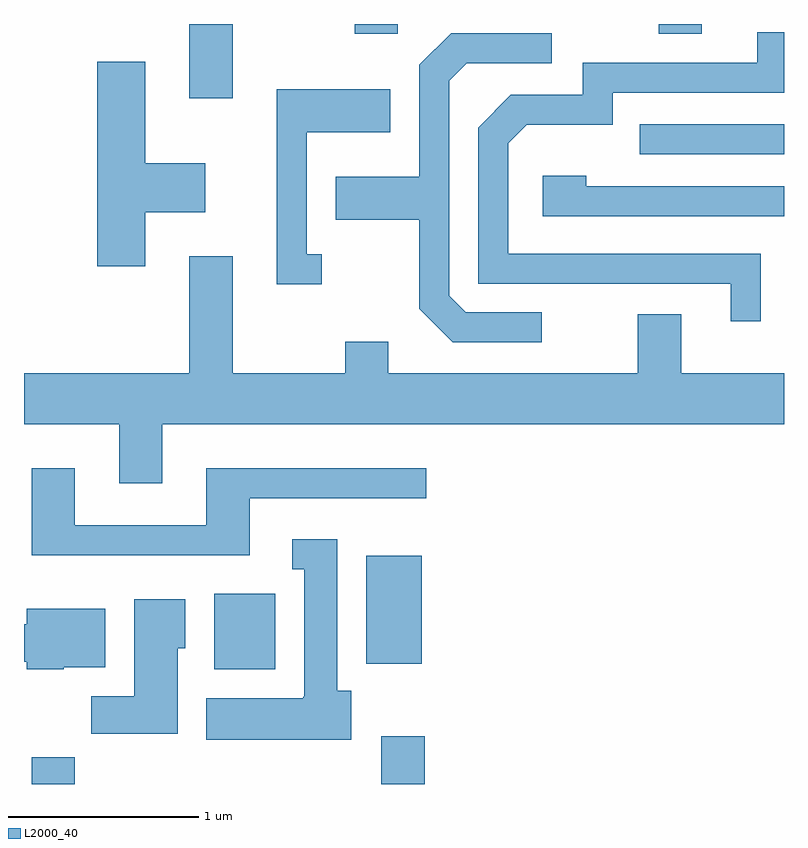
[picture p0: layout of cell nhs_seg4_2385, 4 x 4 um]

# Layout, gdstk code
import gdstk
lib = gdstk.Library(unit=1e-6, precision=1e-09)
def R(c, l, rs):  # rectangles x0, y0, x1, y1
    for r in rs: c.add(gdstk.rectangle(r[:2], r[2:], *l))
def P(c, l, *ps):  # polygons
    for p in ps: c.add(gdstk.Polygon(p, *l))
L2000_40 = (2000, 40)

nhs_seg4_2385 = lib.new_cell('nhs_seg4_2385')
R(nhs_seg4_2385, L2000_40, [(255.651,1263.982,255.879,1264.124), (257.491,1263.982,257.719,1264.234), (256.611,1264.586,256.934,1264.984), (257.411,1264.616,257.704,1265.184), (258.853,1267.296,259.611,1267.454), (256.481,1267.591,256.709,1267.982), (257.351,1267.931,257.579,1267.982), (258.951,1267.931,259.179,1267.982)])
P(nhs_seg4_2385, L2000_40, [(259.489,1266.774),(258.159,1266.774),(258.159,1267.354),(258.257,1267.451),(258.709,1267.451),(258.709,1267.621),(259.611,1267.621),(259.611,1267.939),(259.471,1267.939),(259.471,1267.779),(258.551,1267.779),(258.551,1267.609),(258.174,1267.609),(258.001,1267.437),(258.001,1266.616),(259.331,1266.616),(259.331,1266.418),(259.489,1266.418)],
  [(258.337,1266.464),(257.937,1266.464),(257.849,1266.552),(257.849,1267.684),(257.942,1267.776),(258.388,1267.776),(258.388,1267.934),(257.859,1267.934),(257.691,1267.767),(257.691,1267.179),(257.251,1267.179),(257.251,1266.951),(257.691,1266.951),(257.691,1266.484),(257.868,1266.306),(258.337,1266.306)],
  [(256.249,1266.991),(256.564,1266.991),(256.564,1267.249),(256.249,1267.249),(256.249,1267.784),(255.996,1267.784),(255.996,1266.706),(256.249,1266.706)],
  [(257.178,1266.769),(257.099,1266.769),(257.099,1267.411),(257.539,1267.411),(257.539,1267.639),(256.941,1267.639),(256.941,1266.611),(257.178,1266.611)],
  [(259.611,1267.129),(258.569,1267.129),(258.569,1267.184),(258.341,1267.184),(258.341,1266.971),(259.611,1266.971)],
  [(256.339,1265.876),(259.611,1265.876),(259.611,1266.144),(259.069,1266.144),(259.069,1266.454),(258.841,1266.454),(258.841,1266.144),(257.529,1266.144),(257.529,1266.309),(257.301,1266.309),(257.301,1266.144),(256.709,1266.144),(256.709,1266.759),(256.481,1266.759),(256.481,1266.144),(255.611,1266.144),(255.611,1265.876),(256.111,1265.876),(256.111,1265.566),(256.339,1265.566)],
  [(256.799,1265.486),(257.728,1265.486),(257.728,1265.644),(256.571,1265.644),(256.571,1265.344),(255.879,1265.344),(255.879,1265.644),(255.651,1265.644),(255.651,1265.186),(256.799,1265.186)],
  [(257.334,1264.474),(257.259,1264.474),(257.259,1265.269),(257.022,1265.269),(257.022,1265.111),(257.086,1265.111),(257.086,1264.44),(257.08,1264.44),(257.08,1264.434),(256.571,1264.434),(256.571,1264.216),(257.334,1264.216)],
  [(256.419,1264.696),(256.459,1264.696),(256.459,1264.954),(256.191,1264.954),(256.191,1264.444),(255.966,1264.444),(255.966,1264.246),(256.419,1264.246)],
  [(255.82,1264.596),(256.039,1264.596),(256.039,1264.904),(255.626,1264.904),(255.626,1264.824),(255.611,1264.824),(255.611,1264.626),(255.626,1264.626),(255.626,1264.586),(255.82,1264.586)])

lib.write_gds('nhs_seg4_2385.gds')
